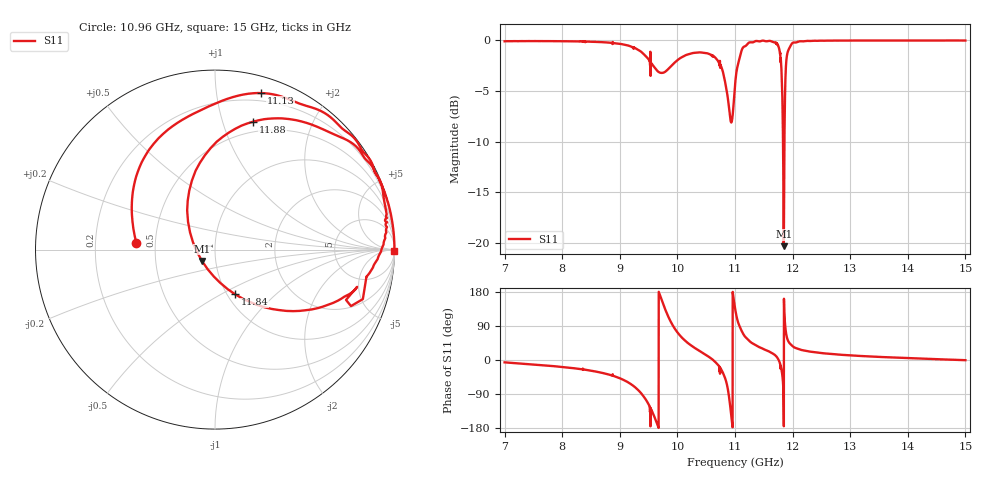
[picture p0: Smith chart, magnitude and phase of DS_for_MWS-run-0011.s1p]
! TOUCHSTONE file generated by CST DESIGN STUDIO
! Date and time: Mon Feb 10 16:56:02 2025
! Project name: C:\Work\MatlabApps\UnitCellType2OptimizationMatlab\CST\unitcell.cst
! Tree item: Tasks\Sweep1\SPara1\S-Parameters
! Header version: 2024
! Port assignment regex: !\s*Touchstone port\s*([0-9]+)\s*=\s*(CST MWS port|CST DES external port|CST DES block port)\s*(.+)\s* \(\"(.*)\"\)(\s*mode\s*([0-9]+))?.*
! Touchstone port assignment:
! Touchstone port 1 = CST DES external port 1 ("")
# GHz S MA R 50
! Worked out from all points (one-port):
!   4001 points, 7 GHz to 15 GHz, reference 50 ohm
!   lowest |S11| = -20.3 dB at 11.85 GHz (marker M1), VSWR 1.21, Z = 42.9 - j5.45 ohm
!   |S11| at or under -10 dB: 11.83376 GHz to 11.85821 GHz (24.45 MHz wide, 0.206 % of centre)
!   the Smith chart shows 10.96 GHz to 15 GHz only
!   S11 on the Smith chart (normalised r, x): 10.96 GHz: 0.39, +0.04; 11.13 GHz: 0.13, +1.33; 11.84 GHz: 1.09, -0.59; 11.88 GHz: 0.40, +1.26; 15 GHz: open
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7  0.9904 -6.2
8  0.9914 -18.4
9  0.9623 -48.1
9.416  0.8558 -96.7
9.652  0.7072 -170.1
9.826  0.7155 119.7
10  0.7987 73.0
10.292  0.8683 32.7
10.656  0.8237 -5.0
10.784  0.7094 -31.8
10.864  0.5467 -67.7
10.912  0.4216 -115.7
10.964  0.4409 174.9
11  0.5987 137.2
11.056  0.7698 98.2
11.126  0.9094 73.6
11.326  0.9832 42.0
11.71  0.9718 10.7
11.776  0.8858 -6.5
11.81  0.6789 -28.0
11.836  0.2736 -65.7
11.846  0.09624 -139.2
11.884  0.7428 73.5
11.932  0.9028 47.7
12  0.9728 36.5
13  0.9986 12.2
14  0.9998 5.0
15  0.9992 -0.5
